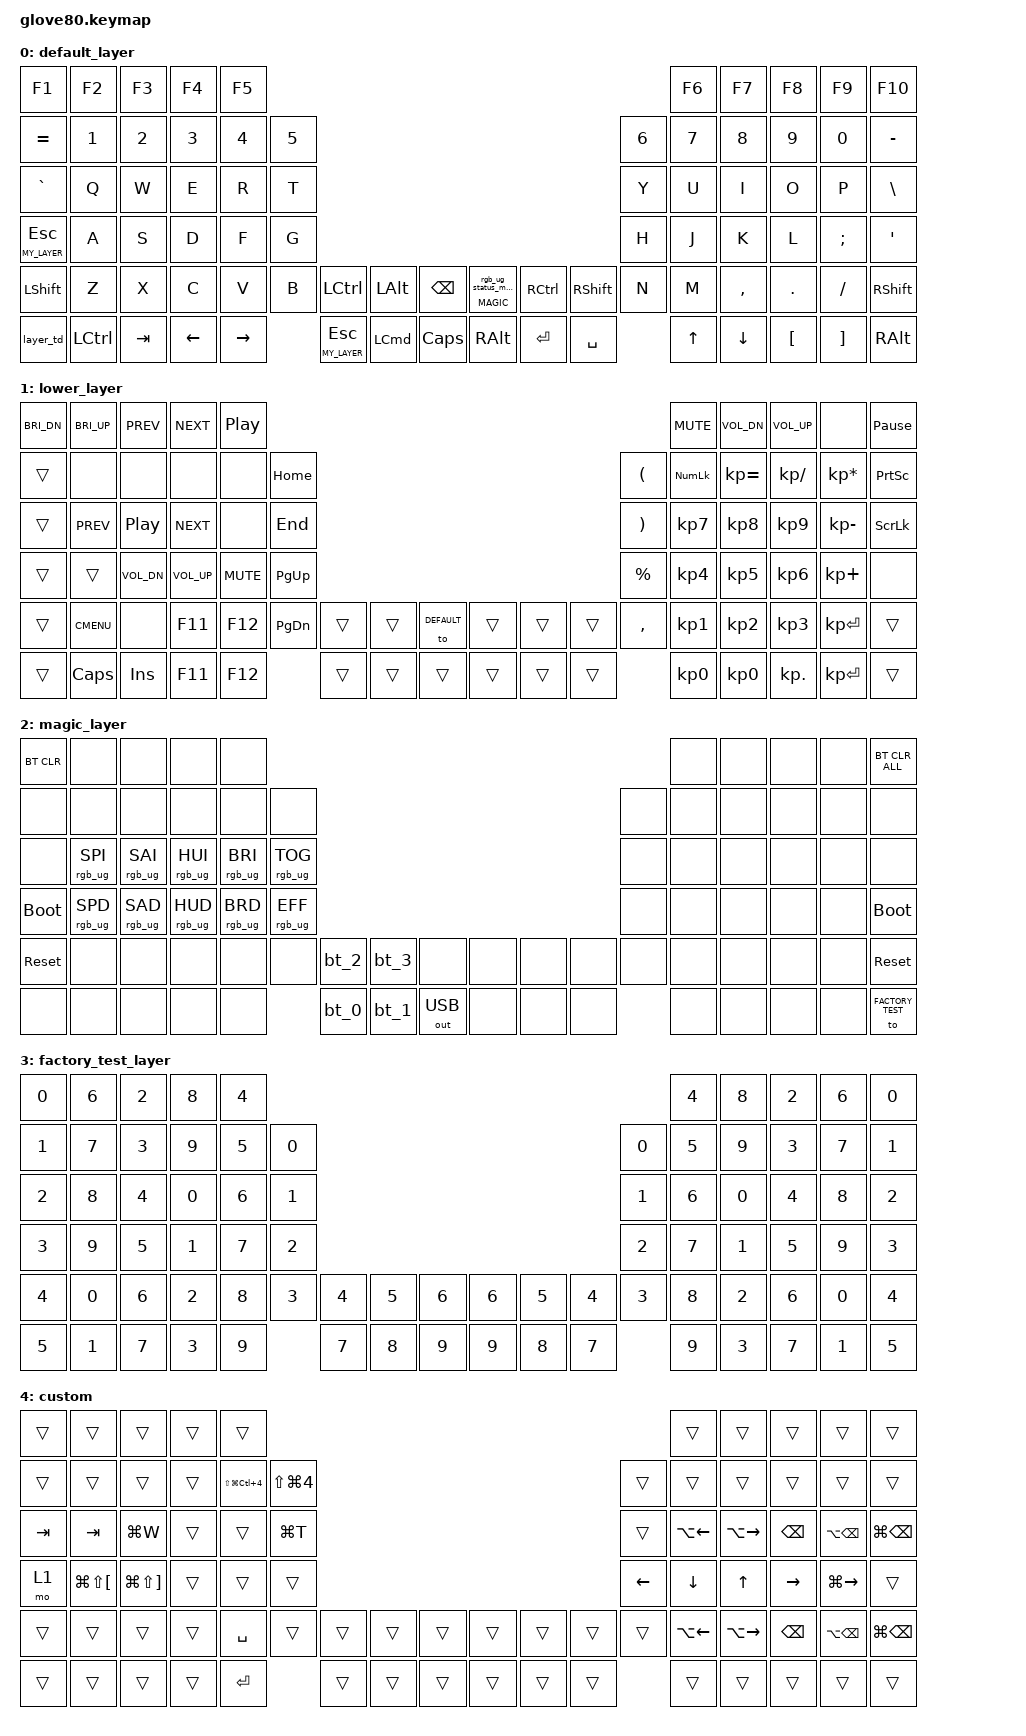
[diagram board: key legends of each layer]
/*
 * Copyright (c) 2020 The ZMK Contributors
 *
 * SPDX-License-Identifier: MIT
 */

#include <behaviors.dtsi>
#include <dt-bindings/zmk/keys.h>
#include <dt-bindings/zmk/bt.h>
#include <dt-bindings/zmk/ext_power.h>
#include <dt-bindings/zmk/outputs.h>
#include <dt-bindings/zmk/rgb.h>

#define HYPER LC(LS(LG(LALT)))

// layers
#define DEFAULT 0
#define LOWER 1
#define MAGIC 2
#define FACTORY_TEST 3
#define MY_LAYER 4

/ {
    behaviors {
        // For the "layer" key, it'd nice to be able to use it as either a shift or a toggle.
        // Configure it as a tap dance, so the first tap (or hold) is a &mo and the second tap is a &to
        layer_td: tap_dance_0 {
            compatible = "zmk,behavior-tap-dance";
            label = "LAYER_TAP_DANCE";
            #binding-cells = <0>;
            tapping-term-ms = <200>;
            bindings = <&mo LOWER>, <&to LOWER>;
        };

        magic: magic_hold_tap {
            compatible = "zmk,behavior-hold-tap";
            label = "MAGIC_HOLD_TAP";
            #binding-cells = <2>;
            flavor = "tap-preferred";
            tapping-term-ms = <200>;
            bindings = <&mo>, <&rgb_ug_status_macro>;
        };
    };

    macros {
        rgb_ug_status_macro: rgb_ug_status_macro_0 {
            label = "RGB_UG_STATUS";
            compatible = "zmk,behavior-macro";
            #binding-cells = <0>;
            bindings
                = <&rgb_ug RGB_STATUS>;
        };

        bt_0: bt_profile_macro_0 {
            label = "BT_0";
            compatible = "zmk,behavior-macro";
            #binding-cells = <0>;
            bindings
                = <&out OUT_BLE>,
                  <&bt BT_SEL 0>;
        };

        bt_1: bt_profile_macro_1 {
            label = "BT_1";
            compatible = "zmk,behavior-macro";
            #binding-cells = <0>;
            bindings
                = <&out OUT_BLE>,
                  <&bt BT_SEL 1>;
        };

        bt_2: bt_profile_macro_2 {
            label = "BT_2";
            compatible = "zmk,behavior-macro";
            #binding-cells = <0>;
            bindings
                = <&out OUT_BLE>,
                  <&bt BT_SEL 2>;
        };

        bt_3: bt_profile_macro_3 {
            label = "BT_3";
            compatible = "zmk,behavior-macro";
            #binding-cells = <0>;
            bindings
                = <&out OUT_BLE>,
                  <&bt BT_SEL 3>;
        };
    };

    keymap {
        compatible = "zmk,keymap";

        default_layer {
            // ---------------------------------------------------------------------------------------------------------------------------------
            // |  F1   |  F2 |  F3 |  F4  |  F5  |                                                               |  F6   |  F7   |  F8  |   F9  |  F10 |
            // |  =    |  1  |  2  |  3   |  4   |  5   |                                                 |  6   |   7   |   8   |  9   |   0   |   -  |
            // |  TAB  |  Q  |  W  |  E   |  R   |  T   |                                                 |  Y   |   U   |   I   |  O   |   P   |   \  |
            // |  ESC  |  A  |  S  |  D   |  F   |  G   |                                                 |  H   |   J   |   K   |  L   |   ;   |   '  |
            // |   `   |  Z  |  X  |  C   |  V   |  B   | LSHFT | LCTRL | LOWER | | LGUI  | RCTRL | RSHFT |  N   |   M   |   ,   |  .   |   /   | PGUP |
            // | MAGIC | HOME| END | LEFT | RIGHT|      | BSPC  | DEL   | LALT  | | RALT  | RET   | SPACE |      |  UP   | DOWN  |  [   |   ]   | PGDN |

            bindings = <
            &kp F1             &kp F2    &kp F3       &kp F4      &kp F5                                                                                                                 &kp F6  &kp F7      &kp F8      &kp F9      &kp F10
            &kp EQUAL          &kp N1    &kp N2       &kp N3      &kp N4      &kp N5                                                                                             &kp N6  &kp N7  &kp N8      &kp N9      &kp N0      &kp MINUS
            &kp GRAVE          &kp Q     &kp W        &kp E       &kp R       &kp T                                                                                              &kp Y   &kp U   &kp I       &kp O       &kp P       &kp BSLH
            &lt MY_LAYER ESC   &kp A     &kp S        &kp D       &kp F       &kp G                                                                                              &kp H   &kp J   &kp K       &kp L       &kp SEMI    &kp SQT
            &kp LSHIFT         &kp Z     &kp X        &kp C       &kp V       &kp B   &kp LCTRL            &kp LALT     &kp BSPC         &magic MAGIC 0  &kp RCTRL &kp RSHFT     &kp N   &kp M   &kp COMMA   &kp DOT     &kp FSLH    &kp RSHFT
            &layer_td          &kp LCTRL &kp TAB      &kp LEFT    &kp RIGHT           &lt MY_LAYER ESC     &kp LCMD     &kp CAPS         &kp RALT        &kp ENTER &kp SPACE             &kp UP  &kp DOWN    &kp LBKT    &kp RBKT    &kp RALT
            >;
        };

        lower_layer {
            bindings = <
            &kp C_BRI_DN      &kp C_BRI_UP        &kp C_PREV      &kp C_NEXT      &kp C_PP                                                                                                           &kp C_MUTE   &kp C_VOL_DN &kp C_VOL_UP  &none           &kp PAUSE_BREAK
            &trans            &none               &none           &none           &none           &kp HOME                                                                              &kp LPAR     &kp KP_NUM   &kp KP_EQUAL &kp KP_DIVIDE &kp KP_MULTIPLY &kp PSCRN
            &trans            &kp C_PREV          &kp C_PP        &kp C_NEXT      &none           &kp END                                                                               &kp RPAR     &kp KP_N7    &kp KP_N8    &kp KP_N9     &kp KP_MINUS    &kp SLCK
            &trans            &trans              &kp C_VOL_DN    &kp C_VOL_UP    &kp C_MUTE      &kp PG_UP                                                                             &kp PRCNT    &kp KP_N4    &kp KP_N5    &kp KP_N6     &kp KP_PLUS     &none
            &trans            &kp K_CMENU         &none           &kp F11         &kp F12         &kp PG_DN       &trans      &trans      &to DEFAULT &trans      &trans      &trans    &kp COMMA    &kp KP_N1    &kp KP_N2    &kp KP_N3     &kp KP_ENTER    &trans
            &trans            &kp CAPS            &kp INS         &kp F11         &kp F12                         &trans      &trans      &trans      &trans      &trans      &trans                 &kp KP_N0    &kp KP_N0    &kp KP_DOT    &kp KP_ENTER    &trans
            >;
        };

        magic_layer {
            bindings = <
            &bt BT_CLR        &none               &none           &none           &none                                                                                                           &none      &none      &none      &none      &bt BT_CLR_ALL
            &none             &none               &none           &none           &none           &none                                                                                &none      &none      &none      &none      &none      &none
            &none             &rgb_ug RGB_SPI     &rgb_ug RGB_SAI &rgb_ug RGB_HUI &rgb_ug RGB_BRI &rgb_ug RGB_TOG                                                                      &none      &none      &none      &none      &none      &none
            &bootloader       &rgb_ug RGB_SPD     &rgb_ug RGB_SAD &rgb_ug RGB_HUD &rgb_ug RGB_BRD &rgb_ug RGB_EFF                                                                      &none      &none      &none      &none      &none      &bootloader
            &sys_reset        &none               &none           &none           &none           &none           &bt_2     &bt_3     &none            &none     &none     &none       &none      &none      &none      &none      &none      &sys_reset
            &none             &none               &none           &none           &none                           &bt_0     &bt_1     &out OUT_USB     &none     &none     &none                  &none      &none      &none      &none      &to FACTORY_TEST
            >;
        };

        factory_test_layer {
            bindings = <
            &kp N0   &kp N6   &kp N2   &kp N8   &kp N4                                                                              &kp N4   &kp N8   &kp N2   &kp N6   &kp N0
            &kp N1   &kp N7   &kp N3   &kp N9   &kp N5   &kp N0                                                            &kp N0   &kp N5   &kp N9   &kp N3   &kp N7   &kp N1
            &kp N2   &kp N8   &kp N4   &kp N0   &kp N6   &kp N1                                                            &kp N1   &kp N6   &kp N0   &kp N4   &kp N8   &kp N2
            &kp N3   &kp N9   &kp N5   &kp N1   &kp N7   &kp N2                                                            &kp N2   &kp N7   &kp N1   &kp N5   &kp N9   &kp N3
            &kp N4   &kp N0   &kp N6   &kp N2   &kp N8   &kp N3   &kp N4   &kp N5   &kp N6      &kp N6   &kp N5   &kp N4   &kp N3   &kp N8   &kp N2   &kp N6   &kp N0   &kp N4
            &kp N5   &kp N1   &kp N7   &kp N3   &kp N9            &kp N7   &kp N8   &kp N9      &kp N9   &kp N8   &kp N7            &kp N9   &kp N3   &kp N7   &kp N1   &kp N5
            >;
        };

        custom {
            bindings = <
            &trans  &trans                   &trans                    &trans  &trans                                                                                       &trans        &trans        &trans    &trans        &trans
            &trans  &trans                   &trans                    &trans  &kp LS(LG(LC(N4)))    &kp LS(LG(N4))                                               &trans    &trans        &trans        &trans    &trans        &trans
            &kp TAB &kp TAB                  &kp LG(W)                 &trans  &trans                &kp LG(T)                                                    &trans    &kp LA(LEFT)  &kp LA(RIGHT) &kp BSPC  &kp LA(BSPC)  &kp LG(BSPC)
            &mo 1   &kp LG(LS(LEFT_BRACKET)) &kp LG(LS(RIGHT_BRACKET)) &trans  &trans                &trans                                                       &kp LEFT  &kp DOWN      &kp UP        &kp RIGHT &kp LG(RIGHT) &trans
            &trans  &trans                   &trans                    &trans  &kp SPACE             &trans         &trans &trans &trans &trans &trans &trans     &trans    &kp LA(LEFT)  &kp LA(RIGHT) &kp BSPC  &kp LA(BSPC)  &kp LG(BSPC)
            &trans  &trans                   &trans                    &trans  &kp ENTER                            &trans &trans &trans &trans &trans &trans               &trans        &trans        &trans    &trans        &trans
            >;
        };
    };
};
